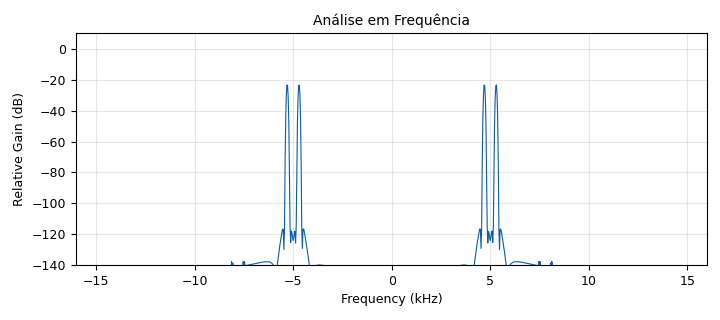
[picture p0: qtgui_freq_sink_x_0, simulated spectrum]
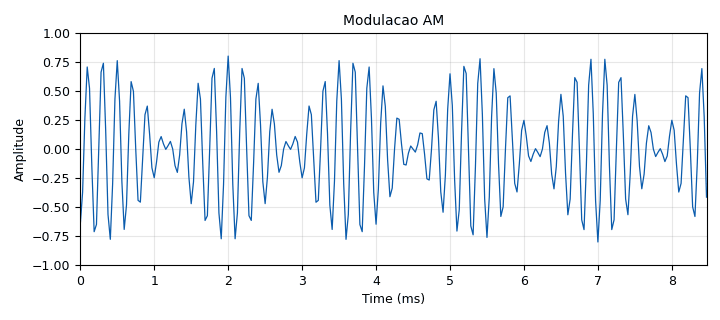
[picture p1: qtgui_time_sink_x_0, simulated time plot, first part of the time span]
options:
  parameters:
    generate_options: qt_gui
    id: tx_am
    output_language: python
    title: Not titled yet
  states: {}

blocks:
- name: samp_rate
  id: variable
  parameters:
    value: '32000'
  states: {}
- name: analog_sig_source_x_0
  id: analog_sig_source_x
  parameters:
    amp: '0.8'
    freq: '300'
    offset: '0'
    phase: '0'
    samp_rate: samp_rate
    type: float
    waveform: analog.GR_COS_WAVE
  states: {}
- name: analog_sig_source_x_0_0
  id: analog_sig_source_x
  parameters:
    amp: '1'
    freq: 5e3
    offset: '0'
    phase: '0'
    samp_rate: samp_rate
    type: float
    waveform: analog.GR_COS_WAVE
  states: {}
- name: blocks_multiply_xx_0
  id: blocks_multiply_xx
  parameters:
    type: float
  states: {}
- name: qtgui_freq_sink_x_0
  id: qtgui_freq_sink_x
  parameters:
    bw: samp_rate
    fc: '0'
    fftsize: '1024'
    name: Análise em Frequência
    type: float
  states: {}
- name: qtgui_time_sink_x_0
  id: qtgui_time_sink_x
  parameters:
    name: Modulacao AM
    size: '1024'
    srate: samp_rate
    type: float
    yunit: x(t)
  states: {}

connections:
- [analog_sig_source_x_0, '0', blocks_multiply_xx_0, '0']
- [analog_sig_source_x_0_0, '0', blocks_multiply_xx_0, '1']
- [blocks_multiply_xx_0, '0', qtgui_freq_sink_x_0, '0']
- [blocks_multiply_xx_0, '0', qtgui_time_sink_x_0, '0']

metadata:
  file_format: 1
